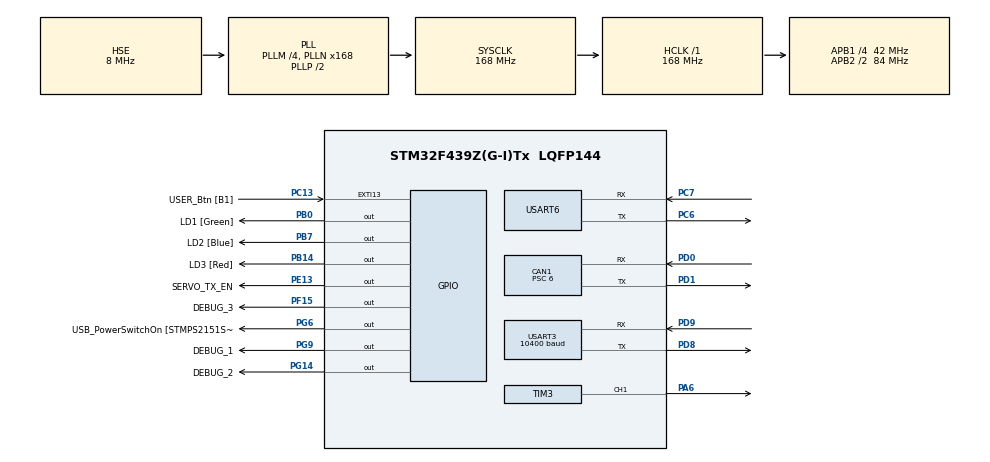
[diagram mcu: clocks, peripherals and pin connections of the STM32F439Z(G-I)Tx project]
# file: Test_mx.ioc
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CAN1.ABOM=ENABLE
CAN1.BS1=CAN_BS1_11TQ
CAN1.BS2=CAN_BS2_2TQ
CAN1.CalculateBaudRate=500000
CAN1.CalculateTimeBit=2000
CAN1.CalculateTimeQuantum=142.85714285714286
CAN1.Mode=CAN_MODE_NORMAL
CAN1.NART=ENABLE
CAN1.Prescaler=6
CAN1.SJW=CAN_SJW_1TQ
CAN1.TXFP=DISABLE
FREERTOS.INCLUDE_vTaskDelayUntil=1
FREERTOS.INCLUDE_vTaskDelete=0
FREERTOS.INCLUDE_xTaskGetCurrentTaskHandle=1
FREERTOS.MEMORY_ALLOCATION=1
FREERTOS.Tasks01=defaultTask,0,256,StartDefaultTask,Default,NULL,Static,defaultTaskBuffer,defaultTaskControlBlock;task_10Hz,1,256,StartTask10Hz,Default,NULL,Static,task10HzBuffer,task10HzControlBlock;task_1Hz,0,256,StartTask1Hz,Default,NULL,Static,task1HzBuffer,task1HzControlBlock;task_1kHz,3,256,StartTask1kHz,Default,NULL,Static,task1kHzBuffer,task1kHzControlBlock
FREERTOS.configGENERATE_RUN_TIME_STATS=1
FREERTOS.configMAX_PRIORITIES=32
FREERTOS.configMINIMAL_STACK_SIZE=256
Mcu.Family=STM32F4
Mcu.Name=STM32F439Z(G-I)Tx
Mcu.Package=LQFP144
NVIC.CAN1_RX0_IRQn=true\:5\:0\:false\:false\:true\:true\:true\:true\:true
NVIC.CAN1_RX1_IRQn=true\:5\:0\:false\:false\:true\:true\:true\:true\:true
NVIC.PriorityGroup=NVIC_PRIORITYGROUP_4
NVIC.TIM2_IRQn=true\:15\:0\:false\:false\:true\:false\:false\:true\:true
NVIC.TimeBase=TIM2_IRQn
NVIC.TimeBaseIP=TIM2
NVIC.USART3_IRQn=true\:5\:0\:false\:false\:true\:true\:true\:true\:true
NVIC.USART6_IRQn=true\:5\:0\:false\:false\:true\:true\:true\:true\:true
PA13.GPIO_Label=TMS
PA13.Mode=Serial_Wire
PA13.Signal=SYS_JTMS-SWDIO
PA14.GPIO_Label=TCK
PA14.Mode=Serial_Wire
PA14.Signal=SYS_JTCK-SWCLK
PA6.Signal=S_TIM3_CH1
PB0.GPIO_Label=LD1 [Green]
PB0.PinState=GPIO_PIN_RESET
PB0.Signal=GPIO_Output
PB14.GPIO_Label=LD3 [Red]
PB14.PinState=GPIO_PIN_RESET
PB14.Signal=GPIO_Output
PB7.GPIO_Label=LD2 [Blue]
PB7.PinState=GPIO_PIN_RESET
PB7.Signal=GPIO_Output
PC13.GPIO_Label=USER_Btn [B1]
PC13.Signal=GPXTI13
PC14/OSC32_IN.Mode=LSE-External-Oscillator
PC14/OSC32_IN.Signal=RCC_OSC32_IN
PC15/OSC32_OUT.Mode=LSE-External-Oscillator
PC15/OSC32_OUT.Signal=RCC_OSC32_OUT
PC6.Mode=Asynchronous
PC6.Signal=USART6_TX
PC7.Mode=Asynchronous
PC7.Signal=USART6_RX
PD0.Mode=CAN_Activate
PD0.Signal=CAN1_RX
PD1.Mode=CAN_Activate
PD1.Signal=CAN1_TX
PD8.Mode=Asynchronous
PD8.Signal=USART3_TX
PD9.Mode=Asynchronous
PD9.Signal=USART3_RX
PE13.GPIO_Label=SERVO_TX_EN
PE13.Signal=GPIO_Output
PF15.GPIO_Label=DEBUG_3
PF15.Signal=GPIO_Output
PG14.GPIO_Label=DEBUG_2
PG14.Signal=GPIO_Output
PG6.GPIO_Label=USB_PowerSwitchOn [STMPS2151STR_EN]
PG6.Signal=GPIO_Output
PG9.GPIO_Label=DEBUG_1
PG9.Signal=GPIO_Output
PH0/OSC_IN.GPIO_Label=MCO [STM32F103CBT6_PA8]
PH0/OSC_IN.Mode=HSE-External-Clock-Source
PH0/OSC_IN.Signal=RCC_OSC_IN
PH1/OSC_OUT.Mode=HSE-External-Clock-Source
PH1/OSC_OUT.Signal=RCC_OSC_OUT
ProjectManager.HeapSize=0x200
ProjectManager.StackSize=0x400
ProjectManager.TargetToolchain=CMake
RCC.48MHZClocksFreq_Value=48000000
RCC.AHBFreq_Value=168000000
RCC.APB1CLKDivider=RCC_HCLK_DIV4
RCC.APB1Freq_Value=42000000
RCC.APB1TimFreq_Value=84000000
RCC.APB2CLKDivider=RCC_HCLK_DIV2
RCC.APB2Freq_Value=84000000
RCC.APB2TimCLKDivider=2
RCC.APB2TimFreq_Value=168000000
RCC.CortexFreq_Value=168000000
RCC.HCLKFreq_Value=168000000
RCC.HSE_VALUE=8000000
RCC.HSI_VALUE=16000000
RCC.PLLM=4
RCC.PLLMUL=RCC_PLL_MUL9
RCC.PLLN=168
RCC.PLLQ=7
RCC.PLLSourceVirtual=RCC_PLLSOURCE_HSE
RCC.PRESCALERUSB=RCC_USBCLKSOURCE_PLL_DIV1_5
RCC.SYSCLKFreq_VALUE=168000000
RCC.SYSCLKSource=RCC_SYSCLKSOURCE_PLLCLK
RCC.SYSCLKSourceVirtual=RCC_SYSCLKSOURCE_PLLCLK
RCC.USBFreq_Value=48000000
RCC.VCOOutputFreq_Value=336000000
SH.S_TIM3_CH1.0=TIM3_CH1,PWM Generation1 CH1
TIM3.Channel-PWM\ Generation1\ CH1=TIM_CHANNEL_1
TIM3.ClockDivision=TIM_CLOCKDIVISION_DIV1
TIM3.Period=56000
TIM3.Prescaler=0
TIM5.Prescaler=84
USART3.BaudRate=10400
USART3.VirtualMode=VM_ASYNC
USART6.VirtualMode=VM_ASYNC
VP_FREERTOS_VS_CMSIS_V1.Mode=CMSIS_V1
VP_SYS_VS_tim2.Mode=TIM2
VP_TIM3_VS_ClockSourceINT.Mode=Internal
VP_TIM5_VS_ClockSourceINT.Mode=Internal
board=NUCLEO-F439ZI

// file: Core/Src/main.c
/* USER CODE BEGIN Header */
/**
  ******************************************************************************
  * @file           : main.c
  * @brief          : Main program body
  ******************************************************************************
  * @attention
  *
  * Copyright (c) 2024 STMicroelectronics.
  * All rights reserved.
  *
  * This software is licensed under terms that can be found in the LICENSE file
  * in the root directory of this software component.
  * If no LICENSE file comes with this software, it is provided AS-IS.
  *
  ******************************************************************************
  */
/* USER CODE END Header */
#include "main.h"
#include "cmsis_os.h"

/* USER CODE BEGIN Includes */
#include "halWrappersConfig.h"
#include "profiler.h"
#include "rtos.h"

/* USER CODE END Includes */

CAN_HandleTypeDef hcan1;

TIM_HandleTypeDef htim3;
TIM_HandleTypeDef htim5;

UART_HandleTypeDef huart3;
UART_HandleTypeDef huart6;

osThreadId defaultTaskHandle;
uint32_t defaultTaskBuffer[ 256 ];
osStaticThreadDef_t defaultTaskControlBlock;
osThreadId task_10HzHandle;
uint32_t task10HzBuffer[ 256 ];
osStaticThreadDef_t task10HzControlBlock;
osThreadId task_1HzHandle;
uint32_t task1HzBuffer[ 256 ];
osStaticThreadDef_t task1HzControlBlock;
osThreadId task_1kHzHandle;
uint32_t task1kHzBuffer[ 256 ];
osStaticThreadDef_t task1kHzControlBlock;
/* USER CODE BEGIN PV */

HalWrappers_Config_S gHalWrappersConfig =
{
  .pPwmTim = &htim3,
  .pUsTim = &htim5,
  .pCan = {&hcan1},
  .pUart = {&huart3, &huart6},
};

static Profiler_Data_S g1kHzProfilerData;
static Profiler_Data_S g10HzProfilerData;
static Profiler_Data_S g1HzProfilerData;

/* USER CODE END PV */

void SystemClock_Config(void);
static void MX_GPIO_Init(void);
static void MX_USART3_UART_Init(void);
static void MX_CAN1_Init(void);
static void MX_TIM3_Init(void);
static void MX_USART6_UART_Init(void);
static void MX_TIM5_Init(void);
void StartDefaultTask(void const * argument);
void StartTask10Hz(void const * argument);
void StartTask1Hz(void const * argument);
void StartTask1kHz(void const * argument);

int main(void)
{

  /* MCU Configuration--------------------------------------------------------*/

  /* Reset of all peripherals, Initializes the Flash interface and the Systick. */
  HAL_Init();

  /* Configure the system clock */
  SystemClock_Config();

  /* Initialize all configured peripherals */
  MX_GPIO_Init();
  MX_USART3_UART_Init();
  MX_CAN1_Init();
  MX_TIM3_Init();
  MX_USART6_UART_Init();
  MX_TIM5_Init();
  /* USER CODE BEGIN 2 */
  RtosInit();
  /* USER CODE END 2 */

  /* Create the thread(s) */
  /* definition and creation of defaultTask */
  osThreadStaticDef(defaultTask, StartDefaultTask, osPriorityNormal, 0, 256, defaultTaskBuffer, &defaultTaskControlBlock);
  defaultTaskHandle = osThreadCreate(osThread(defaultTask), NULL);

  /* definition and creation of task_10Hz */
  osThreadStaticDef(task_10Hz, StartTask10Hz, osPriorityAboveNormal, 0, 256, task10HzBuffer, &task10HzControlBlock);
  task_10HzHandle = osThreadCreate(osThread(task_10Hz), NULL);

  /* definition and creation of task_1Hz */
  osThreadStaticDef(task_1Hz, StartTask1Hz, osPriorityNormal, 0, 256, task1HzBuffer, &task1HzControlBlock);
  task_1HzHandle = osThreadCreate(osThread(task_1Hz), NULL);

  /* definition and creation of task_1kHz */
  osThreadStaticDef(task_1kHz, StartTask1kHz, osPriorityRealtime, 0, 256, task1kHzBuffer, &task1kHzControlBlock);
  task_1kHzHandle = osThreadCreate(osThread(task_1kHz), NULL);

  /* USER CODE BEGIN RTOS_THREADS */
  /* add threads, ... */
  g1kHzProfilerData.configWindowNumPeriods = 1000U; // 1kHz
  vTaskSetThreadLocalStoragePointer(task_1kHzHandle, THREAD_LOCAL_STORAGE_PROFILER_IDX, (void *)&g1kHzProfilerData);
  ProfilerScheduledTaskRegister(PROFILER_TASK_1KHZ, (void *)task_1kHzHandle);

  g10HzProfilerData.configWindowNumPeriods = 10U; // 10Hz
  vTaskSetThreadLocalStoragePointer(task_10HzHandle, THREAD_LOCAL_STORAGE_PROFILER_IDX, (void *)&g10HzProfilerData);
  ProfilerScheduledTaskRegister(PROFILER_TASK_10HZ, (void *)task_10HzHandle);

  g1HzProfilerData.configWindowNumPeriods = 2U; // 1Hz * 2
  vTaskSetThreadLocalStoragePointer(task_1HzHandle, THREAD_LOCAL_STORAGE_PROFILER_IDX, (void *)&g1HzProfilerData);
  ProfilerScheduledTaskRegister(PROFILER_TASK_1HZ, (void *)task_1HzHandle);
  /* USER CODE END RTOS_THREADS */

  /* Start scheduler */
  osKernelStart();

  /* We should never get here as control is now taken by the scheduler */

  /* Infinite loop */
  while (1)
  {

  }
}

void SystemClock_Config(void)
{
  RCC_OscInitTypeDef RCC_OscInitStruct = {0};
  RCC_ClkInitTypeDef RCC_ClkInitStruct = {0};

  /** Configure the main internal regulator output voltage
  */
  __HAL_RCC_PWR_CLK_ENABLE();
  __HAL_PWR_VOLTAGESCALING_CONFIG(PWR_REGULATOR_VOLTAGE_SCALE1);

  /** Initializes the RCC Oscillators according to the specified parameters
  * in the RCC_OscInitTypeDef structure.
  */
  RCC_OscInitStruct.OscillatorType = RCC_OSCILLATORTYPE_HSE;
  RCC_OscInitStruct.HSEState = RCC_HSE_BYPASS;
  RCC_OscInitStruct.PLL.PLLState = RCC_PLL_ON;
  RCC_OscInitStruct.PLL.PLLSource = RCC_PLLSOURCE_HSE;
  RCC_OscInitStruct.PLL.PLLM = 4;
  RCC_OscInitStruct.PLL.PLLN = 168;
  RCC_OscInitStruct.PLL.PLLP = RCC_PLLP_DIV2;
  RCC_OscInitStruct.PLL.PLLQ = 7;
  if (HAL_RCC_OscConfig(&RCC_OscInitStruct) != HAL_OK)
  {
    Error_Handler();
  }

  /** Initializes the CPU, AHB and APB buses clocks
  */
  RCC_ClkInitStruct.ClockType = RCC_CLOCKTYPE_HCLK|RCC_CLOCKTYPE_SYSCLK
                              |RCC_CLOCKTYPE_PCLK1|RCC_CLOCKTYPE_PCLK2;
  RCC_ClkInitStruct.SYSCLKSource = RCC_SYSCLKSOURCE_PLLCLK;
  RCC_ClkInitStruct.AHBCLKDivider = RCC_SYSCLK_DIV1;
  RCC_ClkInitStruct.APB1CLKDivider = RCC_HCLK_DIV4;
  RCC_ClkInitStruct.APB2CLKDivider = RCC_HCLK_DIV2;

  if (HAL_RCC_ClockConfig(&RCC_ClkInitStruct, FLASH_LATENCY_5) != HAL_OK)
  {
    Error_Handler();
  }
}

static void MX_CAN1_Init(void)
{

  hcan1.Instance = CAN1;
  hcan1.Init.Prescaler = 6;
  hcan1.Init.Mode = CAN_MODE_NORMAL;
  hcan1.Init.SyncJumpWidth = CAN_SJW_1TQ;
  hcan1.Init.TimeSeg1 = CAN_BS1_11TQ;
  hcan1.Init.TimeSeg2 = CAN_BS2_2TQ;
  hcan1.Init.TimeTriggeredMode = DISABLE;
  hcan1.Init.AutoBusOff = ENABLE;
  hcan1.Init.AutoWakeUp = DISABLE;
  hcan1.Init.AutoRetransmission = ENABLE;
  hcan1.Init.ReceiveFifoLocked = DISABLE;
  hcan1.Init.TransmitFifoPriority = DISABLE;
  if (HAL_CAN_Init(&hcan1) != HAL_OK)
  {
    Error_Handler();
  }

}

static void MX_TIM3_Init(void)
{

  TIM_ClockConfigTypeDef sClockSourceConfig = {0};
  TIM_MasterConfigTypeDef sMasterConfig = {0};
  TIM_OC_InitTypeDef sConfigOC = {0};

  htim3.Instance = TIM3;
  htim3.Init.Prescaler = 0;
  htim3.Init.CounterMode = TIM_COUNTERMODE_UP;
  htim3.Init.Period = 56000;
  htim3.Init.ClockDivision = TIM_CLOCKDIVISION_DIV1;
  htim3.Init.AutoReloadPreload = TIM_AUTORELOAD_PRELOAD_DISABLE;
  if (HAL_TIM_Base_Init(&htim3) != HAL_OK)
  {
    Error_Handler();
  }
  sClockSourceConfig.ClockSource = TIM_CLOCKSOURCE_INTERNAL;
  if (HAL_TIM_ConfigClockSource(&htim3, &sClockSourceConfig) != HAL_OK)
  {
    Error_Handler();
  }
  if (HAL_TIM_PWM_Init(&htim3) != HAL_OK)
  {
    Error_Handler();
  }
  sMasterConfig.MasterOutputTrigger = TIM_TRGO_RESET;
  sMasterConfig.MasterSlaveMode = TIM_MASTERSLAVEMODE_DISABLE;
  if (HAL_TIMEx_MasterConfigSynchronization(&htim3, &sMasterConfig) != HAL_OK)
  {
    Error_Handler();
  }
  sConfigOC.OCMode = TIM_OCMODE_PWM1;
  sConfigOC.Pulse = 0;
  sConfigOC.OCPolarity = TIM_OCPOLARITY_HIGH;
  sConfigOC.OCFastMode = TIM_OCFAST_DISABLE;
  if (HAL_TIM_PWM_ConfigChannel(&htim3, &sConfigOC, TIM_CHANNEL_1) != HAL_OK)
  {
    Error_Handler();
  }
  HAL_TIM_MspPostInit(&htim3);

}

static void MX_TIM5_Init(void)
{

  TIM_ClockConfigTypeDef sClockSourceConfig = {0};
  TIM_MasterConfigTypeDef sMasterConfig = {0};

  htim5.Instance = TIM5;
  htim5.Init.Prescaler = 84;
  htim5.Init.CounterMode = TIM_COUNTERMODE_UP;
  htim5.Init.Period = 4294967295;
  htim5.Init.ClockDivision = TIM_CLOCKDIVISION_DIV1;
  htim5.Init.AutoReloadPreload = TIM_AUTORELOAD_PRELOAD_DISABLE;
  if (HAL_TIM_Base_Init(&htim5) != HAL_OK)
  {
    Error_Handler();
  }
  sClockSourceConfig.ClockSource = TIM_CLOCKSOURCE_INTERNAL;
  if (HAL_TIM_ConfigClockSource(&htim5, &sClockSourceConfig) != HAL_OK)
  {
    Error_Handler();
  }
  sMasterConfig.MasterOutputTrigger = TIM_TRGO_RESET;
  sMasterConfig.MasterSlaveMode = TIM_MASTERSLAVEMODE_DISABLE;
  if (HAL_TIMEx_MasterConfigSynchronization(&htim5, &sMasterConfig) != HAL_OK)
  {
    Error_Handler();
  }

}

static void MX_USART3_UART_Init(void)
{

  huart3.Instance = USART3;
  huart3.Init.BaudRate = 10400;
  huart3.Init.WordLength = UART_WORDLENGTH_8B;
  huart3.Init.StopBits = UART_STOPBITS_1;
  huart3.Init.Parity = UART_PARITY_NONE;
  huart3.Init.Mode = UART_MODE_TX_RX;
  huart3.Init.HwFlowCtl = UART_HWCONTROL_NONE;
  huart3.Init.OverSampling = UART_OVERSAMPLING_16;
  if (HAL_UART_Init(&huart3) != HAL_OK)
  {
    Error_Handler();
  }

}

static void MX_USART6_UART_Init(void)
{

  huart6.Instance = USART6;
  huart6.Init.BaudRate = 115200;
  huart6.Init.WordLength = UART_WORDLENGTH_8B;
  huart6.Init.StopBits = UART_STOPBITS_1;
  huart6.Init.Parity = UART_PARITY_NONE;
  huart6.Init.Mode = UART_MODE_TX_RX;
  huart6.Init.HwFlowCtl = UART_HWCONTROL_NONE;
  huart6.Init.OverSampling = UART_OVERSAMPLING_16;
  if (HAL_UART_Init(&huart6) != HAL_OK)
  {
    Error_Handler();
  }

}

static void MX_GPIO_Init(void)
{
  GPIO_InitTypeDef GPIO_InitStruct = {0};

  /* GPIO Ports Clock Enable */
  __HAL_RCC_GPIOC_CLK_ENABLE();
  __HAL_RCC_GPIOH_CLK_ENABLE();
  __HAL_RCC_GPIOA_CLK_ENABLE();
  __HAL_RCC_GPIOB_CLK_ENABLE();
  __HAL_RCC_GPIOF_CLK_ENABLE();
  __HAL_RCC_GPIOE_CLK_ENABLE();
  __HAL_RCC_GPIOD_CLK_ENABLE();
  __HAL_RCC_GPIOG_CLK_ENABLE();

  /*Configure GPIO pin Output Level */
  HAL_GPIO_WritePin(GPIOB, LD1_Pin|LD3_Pin|LD2_Pin, GPIO_PIN_RESET);

  /*Configure GPIO pin Output Level */
  HAL_GPIO_WritePin(DEBUG_3_GPIO_Port, DEBUG_3_Pin, GPIO_PIN_RESET);

  /*Configure GPIO pin Output Level */
  HAL_GPIO_WritePin(SERVO_TX_EN_GPIO_Port, SERVO_TX_EN_Pin, GPIO_PIN_RESET);

  /*Configure GPIO pin Output Level */
  HAL_GPIO_WritePin(GPIOG, USB_PowerSwitchOn_Pin|DEBUG_1_Pin|DEBUG_2_Pin, GPIO_PIN_RESET);

  /*Configure GPIO pin : USER_Btn_Pin */
  GPIO_InitStruct.Pin = USER_Btn_Pin;
  GPIO_InitStruct.Mode = GPIO_MODE_IT_RISING;
  GPIO_InitStruct.Pull = GPIO_NOPULL;
  HAL_GPIO_Init(USER_Btn_GPIO_Port, &GPIO_InitStruct);

  /*Configure GPIO pins : LD1_Pin LD3_Pin LD2_Pin */
  GPIO_InitStruct.Pin = LD1_Pin|LD3_Pin|LD2_Pin;
  GPIO_InitStruct.Mode = GPIO_MODE_OUTPUT_PP;
  GPIO_InitStruct.Pull = GPIO_NOPULL;
  GPIO_InitStruct.Speed = GPIO_SPEED_FREQ_LOW;
  HAL_GPIO_Init(GPIOB, &GPIO_InitStruct);

  /*Configure GPIO pin : DEBUG_3_Pin */
  GPIO_InitStruct.Pin = DEBUG_3_Pin;
  GPIO_InitStruct.Mode = GPIO_MODE_OUTPUT_PP;
  GPIO_InitStruct.Pull = GPIO_NOPULL;
  GPIO_InitStruct.Speed = GPIO_SPEED_FREQ_LOW;
  HAL_GPIO_Init(DEBUG_3_GPIO_Port, &GPIO_InitStruct);

  /*Configure GPIO pin : SERVO_TX_EN_Pin */
  GPIO_InitStruct.Pin = SERVO_TX_EN_Pin;
  GPIO_InitStruct.Mode = GPIO_MODE_OUTPUT_PP;
  GPIO_InitStruct.Pull = GPIO_NOPULL;
  GPIO_InitStruct.Speed = GPIO_SPEED_FREQ_LOW;
  HAL_GPIO_Init(SERVO_TX_EN_GPIO_Port, &GPIO_InitStruct);

  /*Configure GPIO pins : USB_PowerSwitchOn_Pin DEBUG_1_Pin DEBUG_2_Pin */
  GPIO_InitStruct.Pin = USB_PowerSwitchOn_Pin|DEBUG_1_Pin|DEBUG_2_Pin;
  GPIO_InitStruct.Mode = GPIO_MODE_OUTPUT_PP;
  GPIO_InitStruct.Pull = GPIO_NOPULL;
  GPIO_InitStruct.Speed = GPIO_SPEED_FREQ_LOW;
  HAL_GPIO_Init(GPIOG, &GPIO_InitStruct);

}

void StartDefaultTask(void const * argument)
{
  /* USER CODE BEGIN 5 */
  (void)argument;
  /* Infinite loop */
  for(;;)
  {
    osDelay(1);
  }
  /* USER CODE END 5 */
}

void StartTask10Hz(void const * argument)
{
  /* USER CODE BEGIN StartTask10Hz */
  (void)argument;
  RtosRunTask10Hz();
  /* USER CODE END StartTask10Hz */
}

void StartTask1Hz(void const * argument)
{
  /* USER CODE BEGIN StartTask1Hz */
  (void)argument;
  RtosRunTask1Hz();
  /* USER CODE END StartTask1Hz */
}

void StartTask1kHz(void const * argument)
{
  /* USER CODE BEGIN StartTask1kHz */
  (void)argument;
  RtosRunTask1kHz();
  /* USER CODE END StartTask1kHz */
}

void HAL_TIM_PeriodElapsedCallback(TIM_HandleTypeDef *htim)
{
  if (htim->Instance == TIM2) {
    HAL_IncTick();
  }
}

void Error_Handler(void)
{
  __disable_irq();
  while (1)
  {
  }
}
